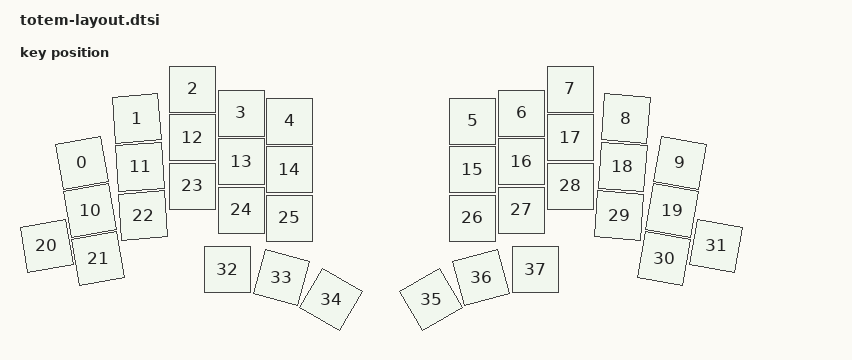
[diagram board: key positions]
#include <physical_layouts.dtsi>

/ {
    physical_layout0: physical_layout_0 {
        compatible = "zmk,physical-layout";
        display-name = "totem";

        keys  //                     w   h    x    y     rot    rx    ry
            = <&key_physical_attrs 100 100   71  148 (-1000)   121   198>
            , <&key_physical_attrs 100 100  180   59  (-400)   230   109>
            , <&key_physical_attrs 100 100  292    0       0     0     0>
            , <&key_physical_attrs 100 100  389   48       0     0     0>
            , <&key_physical_attrs 100 100  486   64       0     0     0>
            , <&key_physical_attrs 100 100  852   64       0     0     0>
            , <&key_physical_attrs 100 100  950   48       0     0     0>
            , <&key_physical_attrs 100 100 1047    0       0     0     0>
            , <&key_physical_attrs 100 100 1158   59     400  1208   109>
            , <&key_physical_attrs 100 100 1267  148    1000  1317   198>
            , <&key_physical_attrs 100 100   87  243 (-1000)   137   293>
            , <&key_physical_attrs 100 100  187  156  (-400)   237   206>
            , <&key_physical_attrs 100 100  292   97       0     0     0>
            , <&key_physical_attrs 100 100  389  145       0     0     0>
            , <&key_physical_attrs 100 100  486  161       0     0     0>
            , <&key_physical_attrs 100 100  852  161       0     0     0>
            , <&key_physical_attrs 100 100  950  145       0     0     0>
            , <&key_physical_attrs 100 100 1047   97       0     0     0>
            , <&key_physical_attrs 100 100 1152  156     400  1202   206>
            , <&key_physical_attrs 100 100 1251  243    1000  1301   293>
            , <&key_physical_attrs 100 100    0  314 (-1000)    50   364>
            , <&key_physical_attrs 100 100  103  339 (-1000)   153   389>
            , <&key_physical_attrs 100 100  193  253  (-400)   243   303>
            , <&key_physical_attrs 100 100  292  194       0     0     0>
            , <&key_physical_attrs 100 100  389  242       0     0     0>
            , <&key_physical_attrs 100 100  486  258       0     0     0>
            , <&key_physical_attrs 100 100  852  258       0     0     0>
            , <&key_physical_attrs 100 100  950  242       0     0     0>
            , <&key_physical_attrs 100 100 1047  194       0     0     0>
            , <&key_physical_attrs 100 100 1145  253     400  1195   303>
            , <&key_physical_attrs 100 100 1235  339    1000  1285   389>
            , <&key_physical_attrs 100 100 1339  314    1000  1389   364>
            , <&key_physical_attrs 100 100  362  361       0     0     0>
            , <&key_physical_attrs 100 100  470  377    1500   520   427>
            , <&key_physical_attrs 100 100  569  421    3000   619   471>
            , <&key_physical_attrs 100 100  769  421 (-3000)   819   471>
            , <&key_physical_attrs 100 100  869  377 (-1500)   919   427>
            , <&key_physical_attrs 100 100  977  361       0     0     0>
            ;
    };
};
